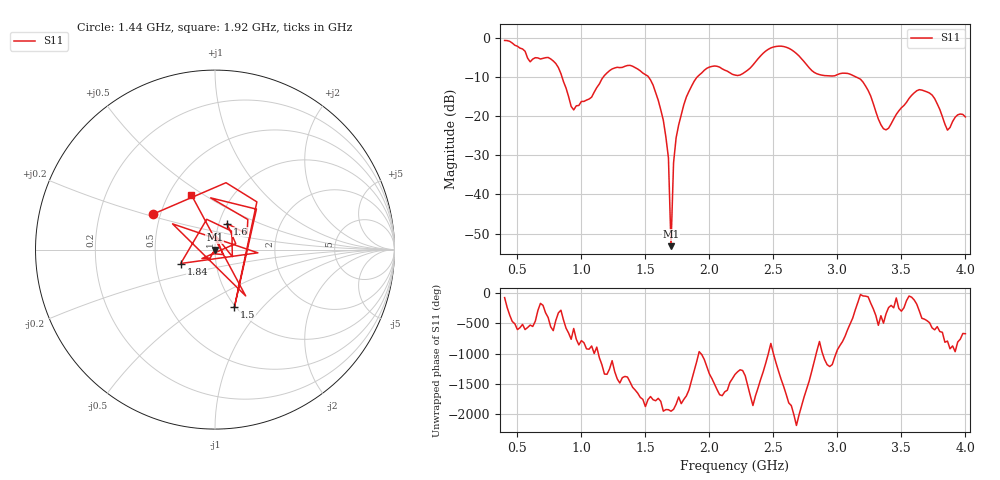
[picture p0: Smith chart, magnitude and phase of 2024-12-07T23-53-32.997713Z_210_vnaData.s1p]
!Created with skrf (http://scikit-rf.org).
# Hz S RI R 50.0
!freq ReS11 ImS11
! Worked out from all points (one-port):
!   181 points, 400 MHz to 4 GHz, reference 50 ohm
!   lowest |S11| = -53.2 dB at 1.7 GHz (marker M1), VSWR 1.00, Z = 49.8 - j0.12 ohm
!   |S11| at or under -10 dB: 848.1 MHz to 1.172 GHz (324 MHz wide, 32.1 % of centre); 1.524 GHz to 1.906 GHz (382.2 MHz wide, 22.3 % of centre); 3.145 GHz to end of sweep
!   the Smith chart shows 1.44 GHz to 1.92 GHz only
!   S11 on the Smith chart (normalised r, x): 1.44 GHz: 0.46, +0.21; 1.5 GHz: 0.99, -0.71; 1.6 GHz: 1.09, +0.33; 1.84 GHz: 0.67, -0.11; 1.92 GHz: 0.65, +0.44
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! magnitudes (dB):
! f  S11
! 400 MHz  -0.7
! 600 MHz  -6.2
! 760 MHz  -5.4
! 860 MHz  -11.2
! 940 MHz  -18.4
! 1.3 GHz  -7.6
! 1.44 GHz  -8.0
! 1.5 GHz  -9.4
! 1.6 GHz  -15.9
! 1.64 GHz  -21.1
! 1.68 GHz  -30.7
! 1.7 GHz  -53.2
! 1.72 GHz  -31.9
! 1.76 GHz  -22.3
! 1.84 GHz  -13.7
! 1.92 GHz  -9.5
! 2.04 GHz  -7.2
! 2.2 GHz  -9.5
! 2.48 GHz  -2.6
! 2.66 GHz  -3.5
! 2.84 GHz  -9.2
! 3.1 GHz  -9.3
! 3.22 GHz  -12.3
! 3.38 GHz  -23.5
! 3.56 GHz  -15.5
! 3.74 GHz  -14.6
! 3.86 GHz  -23.6
! 4 GHz  -20.2
